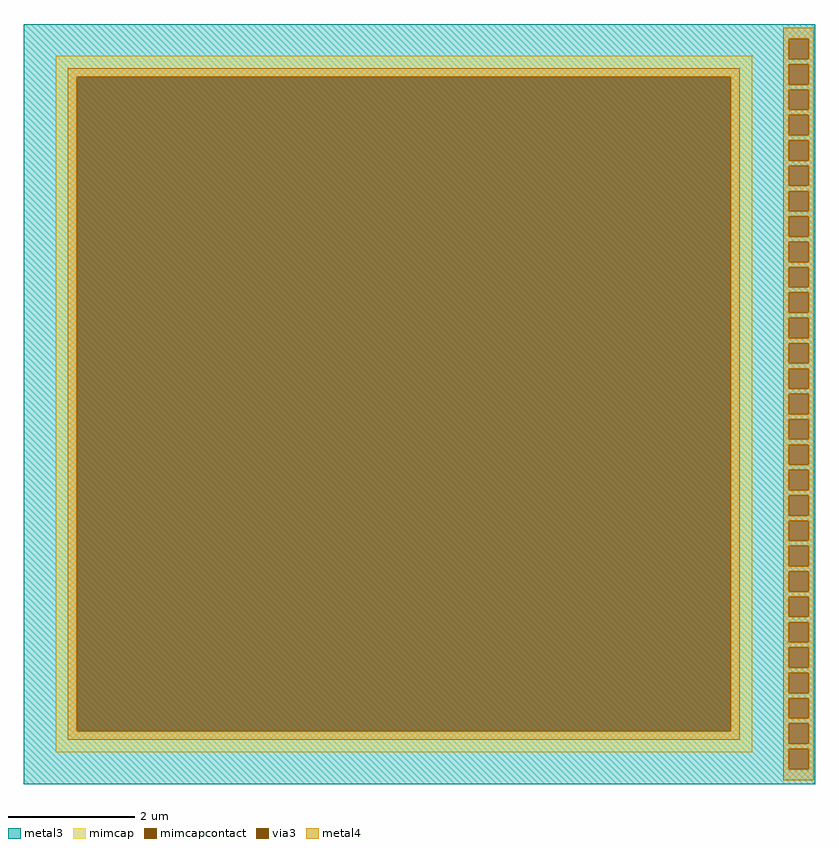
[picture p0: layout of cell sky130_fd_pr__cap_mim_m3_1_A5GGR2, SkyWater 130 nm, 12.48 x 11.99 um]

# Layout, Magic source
magic
tech sky130A
magscale 1 2
<< metal3 >>
rect -1249 1152 1248 1199
rect -1249 1088 1164 1152
rect 1228 1088 1248 1152
rect -1249 1072 1248 1088
rect -1249 1008 1164 1072
rect 1228 1008 1248 1072
rect -1249 992 1248 1008
rect -1249 928 1164 992
rect 1228 928 1248 992
rect -1249 912 1248 928
rect -1249 848 1164 912
rect 1228 848 1248 912
rect -1249 832 1248 848
rect -1249 768 1164 832
rect 1228 768 1248 832
rect -1249 752 1248 768
rect -1249 688 1164 752
rect 1228 688 1248 752
rect -1249 672 1248 688
rect -1249 608 1164 672
rect 1228 608 1248 672
rect -1249 592 1248 608
rect -1249 528 1164 592
rect 1228 528 1248 592
rect -1249 512 1248 528
rect -1249 448 1164 512
rect 1228 448 1248 512
rect -1249 432 1248 448
rect -1249 368 1164 432
rect 1228 368 1248 432
rect -1249 352 1248 368
rect -1249 288 1164 352
rect 1228 288 1248 352
rect -1249 272 1248 288
rect -1249 208 1164 272
rect 1228 208 1248 272
rect -1249 192 1248 208
rect -1249 128 1164 192
rect 1228 128 1248 192
rect -1249 112 1248 128
rect -1249 48 1164 112
rect 1228 48 1248 112
rect -1249 32 1248 48
rect -1249 -32 1164 32
rect 1228 -32 1248 32
rect -1249 -48 1248 -32
rect -1249 -112 1164 -48
rect 1228 -112 1248 -48
rect -1249 -128 1248 -112
rect -1249 -192 1164 -128
rect 1228 -192 1248 -128
rect -1249 -208 1248 -192
rect -1249 -272 1164 -208
rect 1228 -272 1248 -208
rect -1249 -288 1248 -272
rect -1249 -352 1164 -288
rect 1228 -352 1248 -288
rect -1249 -368 1248 -352
rect -1249 -432 1164 -368
rect 1228 -432 1248 -368
rect -1249 -448 1248 -432
rect -1249 -512 1164 -448
rect 1228 -512 1248 -448
rect -1249 -528 1248 -512
rect -1249 -592 1164 -528
rect 1228 -592 1248 -528
rect -1249 -608 1248 -592
rect -1249 -672 1164 -608
rect 1228 -672 1248 -608
rect -1249 -688 1248 -672
rect -1249 -752 1164 -688
rect 1228 -752 1248 -688
rect -1249 -768 1248 -752
rect -1249 -832 1164 -768
rect 1228 -832 1248 -768
rect -1249 -848 1248 -832
rect -1249 -912 1164 -848
rect 1228 -912 1248 -848
rect -1249 -928 1248 -912
rect -1249 -992 1164 -928
rect 1228 -992 1248 -928
rect -1249 -1008 1248 -992
rect -1249 -1072 1164 -1008
rect 1228 -1072 1248 -1008
rect -1249 -1088 1248 -1072
rect -1249 -1152 1164 -1088
rect 1228 -1152 1248 -1088
rect -1249 -1199 1248 -1152
<< via3 >>
rect 1164 1088 1228 1152
rect 1164 1008 1228 1072
rect 1164 928 1228 992
rect 1164 848 1228 912
rect 1164 768 1228 832
rect 1164 688 1228 752
rect 1164 608 1228 672
rect 1164 528 1228 592
rect 1164 448 1228 512
rect 1164 368 1228 432
rect 1164 288 1228 352
rect 1164 208 1228 272
rect 1164 128 1228 192
rect 1164 48 1228 112
rect 1164 -32 1228 32
rect 1164 -112 1228 -48
rect 1164 -192 1228 -128
rect 1164 -272 1228 -208
rect 1164 -352 1228 -288
rect 1164 -432 1228 -368
rect 1164 -512 1228 -448
rect 1164 -592 1228 -528
rect 1164 -672 1228 -608
rect 1164 -752 1228 -688
rect 1164 -832 1228 -768
rect 1164 -912 1228 -848
rect 1164 -992 1228 -928
rect 1164 -1072 1228 -1008
rect 1164 -1152 1228 -1088
<< mimcap >>
rect -1149 1032 1049 1099
rect -1149 -1032 -1082 1032
rect 982 -1032 1049 1032
rect -1149 -1099 1049 -1032
<< mimcapcontact >>
rect -1082 -1032 982 1032
<< metal4 >>
rect 1148 1152 1244 1187
rect 1148 1088 1164 1152
rect 1228 1088 1244 1152
rect 1148 1072 1244 1088
rect -1110 1032 1010 1060
rect -1110 -1032 -1082 1032
rect 982 -1032 1010 1032
rect -1110 -1060 1010 -1032
rect 1148 1008 1164 1072
rect 1228 1008 1244 1072
rect 1148 992 1244 1008
rect 1148 928 1164 992
rect 1228 928 1244 992
rect 1148 912 1244 928
rect 1148 848 1164 912
rect 1228 848 1244 912
rect 1148 832 1244 848
rect 1148 768 1164 832
rect 1228 768 1244 832
rect 1148 752 1244 768
rect 1148 688 1164 752
rect 1228 688 1244 752
rect 1148 672 1244 688
rect 1148 608 1164 672
rect 1228 608 1244 672
rect 1148 592 1244 608
rect 1148 528 1164 592
rect 1228 528 1244 592
rect 1148 512 1244 528
rect 1148 448 1164 512
rect 1228 448 1244 512
rect 1148 432 1244 448
rect 1148 368 1164 432
rect 1228 368 1244 432
rect 1148 352 1244 368
rect 1148 288 1164 352
rect 1228 288 1244 352
rect 1148 272 1244 288
rect 1148 208 1164 272
rect 1228 208 1244 272
rect 1148 192 1244 208
rect 1148 128 1164 192
rect 1228 128 1244 192
rect 1148 112 1244 128
rect 1148 48 1164 112
rect 1228 48 1244 112
rect 1148 32 1244 48
rect 1148 -32 1164 32
rect 1228 -32 1244 32
rect 1148 -48 1244 -32
rect 1148 -112 1164 -48
rect 1228 -112 1244 -48
rect 1148 -128 1244 -112
rect 1148 -192 1164 -128
rect 1228 -192 1244 -128
rect 1148 -208 1244 -192
rect 1148 -272 1164 -208
rect 1228 -272 1244 -208
rect 1148 -288 1244 -272
rect 1148 -352 1164 -288
rect 1228 -352 1244 -288
rect 1148 -368 1244 -352
rect 1148 -432 1164 -368
rect 1228 -432 1244 -368
rect 1148 -448 1244 -432
rect 1148 -512 1164 -448
rect 1228 -512 1244 -448
rect 1148 -528 1244 -512
rect 1148 -592 1164 -528
rect 1228 -592 1244 -528
rect 1148 -608 1244 -592
rect 1148 -672 1164 -608
rect 1228 -672 1244 -608
rect 1148 -688 1244 -672
rect 1148 -752 1164 -688
rect 1228 -752 1244 -688
rect 1148 -768 1244 -752
rect 1148 -832 1164 -768
rect 1228 -832 1244 -768
rect 1148 -848 1244 -832
rect 1148 -912 1164 -848
rect 1228 -912 1244 -848
rect 1148 -928 1244 -912
rect 1148 -992 1164 -928
rect 1228 -992 1244 -928
rect 1148 -1008 1244 -992
rect 1148 -1072 1164 -1008
rect 1228 -1072 1244 -1008
rect 1148 -1088 1244 -1072
rect 1148 -1152 1164 -1088
rect 1228 -1152 1244 -1088
rect 1148 -1187 1244 -1152
<< properties >>
string FIXED_BBOX -1249 -1199 1149 1199
<< end >>
